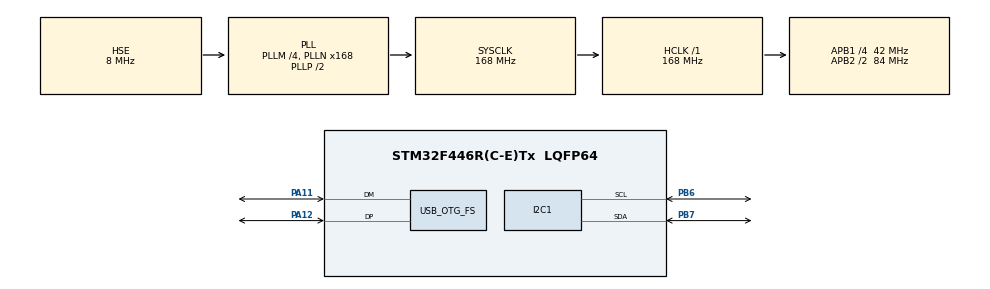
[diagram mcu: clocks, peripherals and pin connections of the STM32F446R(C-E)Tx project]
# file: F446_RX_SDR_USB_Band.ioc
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Mcu.Family=STM32F4
Mcu.Name=STM32F446R(C-E)Tx
Mcu.Package=LQFP64
NVIC.OTG_FS_IRQn=true\:0\:0\:false\:false\:true\:true\:true\:true
NVIC.PriorityGroup=NVIC_PRIORITYGROUP_4
PA11.Mode=Device_Only
PA11.Signal=USB_OTG_FS_DM
PA12.Mode=Device_Only
PA12.Signal=USB_OTG_FS_DP
PA13.Mode=Serial_Wire
PA13.Signal=SYS_JTMS-SWDIO
PA14.Mode=Serial_Wire
PA14.Signal=SYS_JTCK-SWCLK
PB6.Mode=I2C
PB6.Signal=I2C1_SCL
PB7.Mode=I2C
PB7.Signal=I2C1_SDA
PC14-OSC32_IN.Mode=LSE-External-Oscillator
PC14-OSC32_IN.Signal=RCC_OSC32_IN
PC15-OSC32_OUT.Mode=LSE-External-Oscillator
PC15-OSC32_OUT.Signal=RCC_OSC32_OUT
PH0-OSC_IN.Mode=HSE-External-Oscillator
PH0-OSC_IN.Signal=RCC_OSC_IN
PH1-OSC_OUT.Mode=HSE-External-Oscillator
PH1-OSC_OUT.Signal=RCC_OSC_OUT
ProjectManager.HeapSize=0x600
ProjectManager.StackSize=0x1000
ProjectManager.TargetToolchain=STM32CubeIDE
RCC.AHBFreq_Value=168000000
RCC.APB1CLKDivider=RCC_HCLK_DIV4
RCC.APB1Freq_Value=42000000
RCC.APB1TimFreq_Value=84000000
RCC.APB2CLKDivider=RCC_HCLK_DIV2
RCC.APB2Freq_Value=84000000
RCC.APB2TimFreq_Value=168000000
RCC.CortexFreq_Value=168000000
RCC.HCLKFreq_Value=168000000
RCC.HSE_VALUE=8000000
RCC.PLLM=4
RCC.PLLN=168
RCC.PLLQ=7
RCC.SYSCLKFreq_VALUE=168000000
RCC.SYSCLKSource=RCC_SYSCLKSOURCE_PLLCLK
RCC.USBFreq_Value=48000000
RCC.VCOOutputFreq_Value=336000000
USB_OTG_FS.VirtualMode=Device_Only
board=custom

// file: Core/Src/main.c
/* USER CODE BEGIN Header */
/**
  ******************************************************************************
  * @file           : main.c
  * @brief          : Main program body
  ******************************************************************************
  * @attention
  *
  * Copyright (c) 2026 STMicroelectronics.
  * All rights reserved.
  *
  * This software is licensed under terms that can be found in the LICENSE file
  * in the root directory of this software component.
  * If no LICENSE file comes with this software, it is provided AS-IS.
  *
  ******************************************************************************
  */
/* USER CODE END Header */
#include "main.h"

/* USER CODE BEGIN Includes */
#include "si5351.h"
#include "math.h"
#include "tusb.h"
#include "common.h"
#include "usb_descriptors.h"
/* USER CODE END Includes */

/* USER CODE BEGIN PD */
#define FREQ_40M 7074000
/* USER CODE END PD */

I2C_HandleTypeDef hi2c1;

PCD_HandleTypeDef hpcd_USB_OTG_FS;

void SystemClock_Config(void);
static void MX_GPIO_Init(void);
static void MX_I2C1_Init(void);
static void MX_USB_OTG_FS_PCD_Init(void);

/* USER CODE BEGIN 0 */
/* function Setup_Tayloe_Mixer_LO
@brief: Setup the Tayloe Mixer LO
@param: freq_hz - frequency in Hz
@retval: None
*/

void Setup_Tayloe_Mixer_LO(uint32_t freq_hz)
{
	si5351PLLConfig_t pll_conf;
    si5351OutputConfig_t out_conf;

    // 1. Initialize the Si5351 module
    si5351_Init(7220);

    // 2. Calculate the PLL and Multisynth parameters for IQ (90° offset)
    si5351_CalcIQ(freq_hz, &pll_conf, &out_conf);

    // 3. Setup Outputs FIRST to write the phase offsets into the registers.
    // Both use PLL_A, but the PLL isn't configured/reset until step 4.

    // Output 0 (In-Phase / I)
    si5351_SetupOutput(0,
                       SI5351_PLL_A,
                       SI5351_DRIVE_STRENGTH_8MA,
                       &out_conf,
                       0);

    // Output 1 (Quadrature / Q)
    si5351_SetupOutput(1,
                       SI5351_PLL_A,
                       SI5351_DRIVE_STRENGTH_8MA,
                       &out_conf,
                       (uint8_t)out_conf.div);

    // 4. Setup the PLL LAST.
    // This applies the PLL settings and triggers the vital PLL reset
    // across both channels simultaneously, locking in the 90° shift.
    si5351_SetupPLL(SI5351_PLL_A, &pll_conf);

    // 5. Enable CLK0 and CLK1 outputs simultaneously.
    si5351_EnableOutputs((1 << 0) | (1 << 1));
}
/* USER CODE END 0 */

int main(void)
{

  /* MCU Configuration--------------------------------------------------------*/

  /* Reset of all peripherals, Initializes the Flash interface and the Systick. */
  HAL_Init();

  /* Configure the system clock */
  SystemClock_Config();

  /* Initialize all configured peripherals */
  MX_GPIO_Init();
  MX_I2C1_Init();
  MX_USB_OTG_FS_PCD_Init();
  /* USER CODE BEGIN 2 */
  TU_ASSERT(tusb_init());
  Setup_Tayloe_Mixer_LO(FREQ_40M);
  /* USER CODE END 2 */

  /* Infinite loop */
  while (1)
  {

    /* USER CODE BEGIN 3 */
	  tud_task();
	  audio_task();
  }
  /* USER CODE END 3 */
}

void SystemClock_Config(void)
{
  RCC_OscInitTypeDef RCC_OscInitStruct = {0};
  RCC_ClkInitTypeDef RCC_ClkInitStruct = {0};

  /** Configure the main internal regulator output voltage
  */
  __HAL_RCC_PWR_CLK_ENABLE();
  __HAL_PWR_VOLTAGESCALING_CONFIG(PWR_REGULATOR_VOLTAGE_SCALE1);

  /** Initializes the RCC Oscillators according to the specified parameters
  * in the RCC_OscInitTypeDef structure.
  */
  RCC_OscInitStruct.OscillatorType = RCC_OSCILLATORTYPE_HSE;
  RCC_OscInitStruct.HSEState = RCC_HSE_ON;
  RCC_OscInitStruct.PLL.PLLState = RCC_PLL_ON;
  RCC_OscInitStruct.PLL.PLLSource = RCC_PLLSOURCE_HSE;
  RCC_OscInitStruct.PLL.PLLM = 4;
  RCC_OscInitStruct.PLL.PLLN = 168;
  RCC_OscInitStruct.PLL.PLLP = RCC_PLLP_DIV2;
  RCC_OscInitStruct.PLL.PLLQ = 7;
  RCC_OscInitStruct.PLL.PLLR = 2;
  if (HAL_RCC_OscConfig(&RCC_OscInitStruct) != HAL_OK)
  {
    Error_Handler();
  }

  /** Initializes the CPU, AHB and APB buses clocks
  */
  RCC_ClkInitStruct.ClockType = RCC_CLOCKTYPE_HCLK|RCC_CLOCKTYPE_SYSCLK
                              |RCC_CLOCKTYPE_PCLK1|RCC_CLOCKTYPE_PCLK2;
  RCC_ClkInitStruct.SYSCLKSource = RCC_SYSCLKSOURCE_PLLCLK;
  RCC_ClkInitStruct.AHBCLKDivider = RCC_SYSCLK_DIV1;
  RCC_ClkInitStruct.APB1CLKDivider = RCC_HCLK_DIV4;
  RCC_ClkInitStruct.APB2CLKDivider = RCC_HCLK_DIV2;

  if (HAL_RCC_ClockConfig(&RCC_ClkInitStruct, FLASH_LATENCY_5) != HAL_OK)
  {
    Error_Handler();
  }
}

static void MX_I2C1_Init(void)
{

  hi2c1.Instance = I2C1;
  hi2c1.Init.ClockSpeed = 100000;
  hi2c1.Init.DutyCycle = I2C_DUTYCYCLE_2;
  hi2c1.Init.OwnAddress1 = 0;
  hi2c1.Init.AddressingMode = I2C_ADDRESSINGMODE_7BIT;
  hi2c1.Init.DualAddressMode = I2C_DUALADDRESS_DISABLE;
  hi2c1.Init.OwnAddress2 = 0;
  hi2c1.Init.GeneralCallMode = I2C_GENERALCALL_DISABLE;
  hi2c1.Init.NoStretchMode = I2C_NOSTRETCH_DISABLE;
  if (HAL_I2C_Init(&hi2c1) != HAL_OK)
  {
    Error_Handler();
  }

}

static void MX_USB_OTG_FS_PCD_Init(void)
{

  hpcd_USB_OTG_FS.Instance = USB_OTG_FS;
  hpcd_USB_OTG_FS.Init.dev_endpoints = 6;
  hpcd_USB_OTG_FS.Init.speed = PCD_SPEED_FULL;
  hpcd_USB_OTG_FS.Init.dma_enable = DISABLE;
  hpcd_USB_OTG_FS.Init.phy_itface = PCD_PHY_EMBEDDED;
  hpcd_USB_OTG_FS.Init.Sof_enable = DISABLE;
  hpcd_USB_OTG_FS.Init.low_power_enable = DISABLE;
  hpcd_USB_OTG_FS.Init.lpm_enable = DISABLE;
  hpcd_USB_OTG_FS.Init.vbus_sensing_enable = DISABLE;
  hpcd_USB_OTG_FS.Init.use_dedicated_ep1 = DISABLE;
  if (HAL_PCD_Init(&hpcd_USB_OTG_FS) != HAL_OK)
  {
    Error_Handler();
  }

}

static void MX_GPIO_Init(void)
{

  /* GPIO Ports Clock Enable */
  __HAL_RCC_GPIOC_CLK_ENABLE();
  __HAL_RCC_GPIOH_CLK_ENABLE();
  __HAL_RCC_GPIOA_CLK_ENABLE();
  __HAL_RCC_GPIOB_CLK_ENABLE();

}

void Error_Handler(void)
{
  __disable_irq();
  while (1)
  {
  }
}
